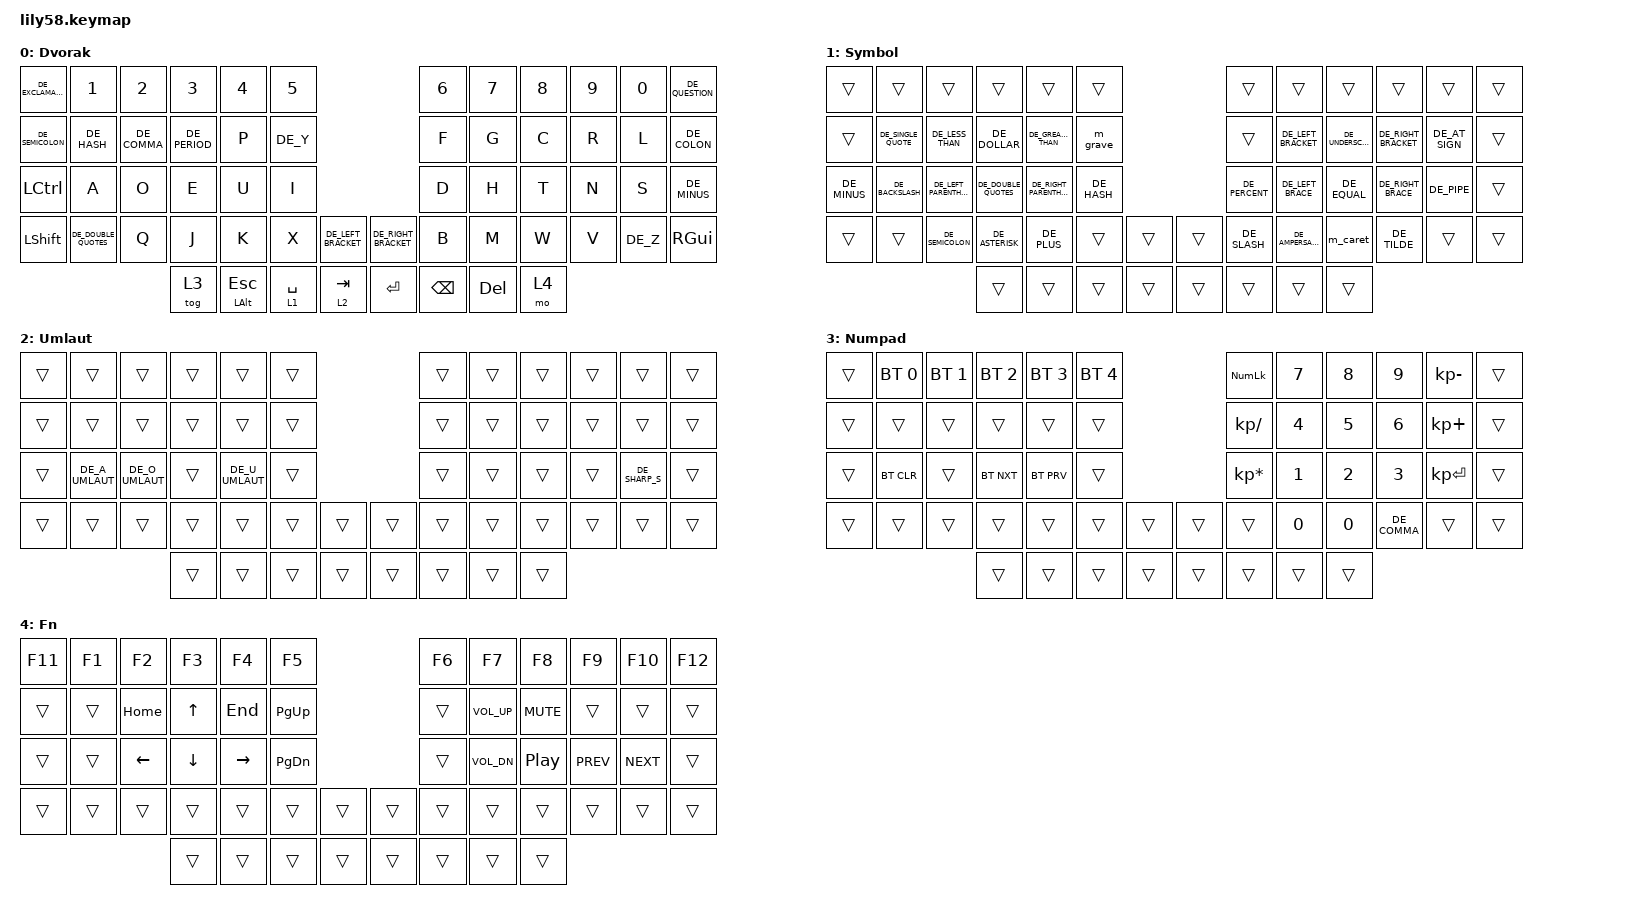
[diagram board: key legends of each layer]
/*
 * Lily58 keymap: modified Dvorak for a German (de) host keyboard layout.
 *
 * Layers
 *   0  Dvorak   default
 *   1  Symbol   hold Space
 *   2  Umlaut   hold Tab
 *   3  Numpad   toggle with the left outer thumb key (press again to leave)
 *   4  Fn       hold the right outer thumb key
 *
 * The DE_* key codes come from the zmk-locales module (see config/west.yml).
 * They encode what the host prints when it is set to the German layout, e.g.
 * DE_LEFT_BRACKET = AltGr+8 and DE_Y = the HID "Z" key.
 */

#include <behaviors.dtsi>
#include <dt-bindings/zmk/keys.h>
#include <dt-bindings/zmk/bt.h>
#include <locale/keys_de.h>

/ {
    behaviors {
        // Space: tap = Space, hold = Symbol layer.
        lt_spc: layer_tap_space {
            compatible = "zmk,behavior-hold-tap";
            #binding-cells = <2>;
            flavor = "balanced";
            tapping-term-ms = <200>;
            quick-tap-ms = <175>;          // tap, then hold within 175 ms = auto-repeat Space
            require-prior-idle-ms = <100>; // Space < 100 ms after a letter is always a tap (prose safety)
            bindings = <&mo>, <&kp>;
        };

        // Tab: tap = Tab, hold = Umlaut layer. No prior-idle so umlauts can be rolled at speed.
        lt_tab: layer_tap_tab {
            compatible = "zmk,behavior-hold-tap";
            #binding-cells = <2>;
            flavor = "balanced";
            tapping-term-ms = <200>;
            quick-tap-ms = <175>;
            bindings = <&mo>, <&kp>;
        };

        // Left thumb #2: tap = ESC, hold = ALT. "balanced" keeps a rolled ESC+':' as ESC
        // while Alt held + Tab tapped resolves to Alt+Tab.
        mt_esc: mod_tap_esc {
            compatible = "zmk,behavior-hold-tap";
            #binding-cells = <2>;
            flavor = "balanced";
            tapping-term-ms = <200>;
            quick-tap-ms = <175>;
            bindings = <&kp>, <&kp>;
        };
    };

    macros {
        // On the German layout ` and ^ are dead keys; dead key + Space emits the bare character.
        m_grave: m_grave {
            compatible = "zmk,behavior-macro";
            #binding-cells = <0>;
            bindings = <&kp DE_GRAVE &kp SPACE>;
        };

        m_caret: m_caret {
            compatible = "zmk,behavior-macro";
            #binding-cells = <0>;
            bindings = <&kp DE_CARET &kp SPACE>;
        };
    };

    keymap {
        compatible = "zmk,keymap";

        default_layer {
            display-name = "Dvorak";
// ------------------------------------------------------------------------------------------------------------
// |  !    |  1  |  2  |  3   |  4   |  5   |                   |  6   |  7    |  8    |  9   |   0   |   ?   |
// |  ;    |  #  |  ,  |  .   |  P   |  Y   |                   |  F   |  G    |  C    |  R   |   L   |   :   |
// | CTRL  |  A  |  O  |  E   |  U   |  I   |                   |  D   |  H    |  T    |  N   |   S   |   -   |
// | SHIFT |  "  |  Q  |  J   |  K   |  X   |   "["  |  |  "]"  |  B   |  M    |  W    |  V   |   Z   |  GUI  |
//                     |NUMPAD|ESC/ALT|SPC/SYM|TAB/UML|  | ENTER | BSPC | DEL   |  FN   |
            bindings = <
&kp DE_EXCLAMATION &kp N1               &kp N2       &kp N3        &kp N4           &kp N5                                                    &kp N6   &kp N7   &kp N8  &kp N9  &kp N0   &kp DE_QUESTION
&kp DE_SEMICOLON   &kp DE_HASH          &kp DE_COMMA &kp DE_PERIOD &kp P            &kp DE_Y                                                  &kp F    &kp G    &kp C   &kp R   &kp L    &kp DE_COLON
&kp LCTRL          &kp A                &kp O        &kp E         &kp U            &kp I                                                     &kp D    &kp H    &kp T   &kp N   &kp S    &kp DE_MINUS
&kp LSHFT          &kp DE_DOUBLE_QUOTES &kp Q        &kp J         &kp K            &kp X           &kp DE_LEFT_BRACKET  &kp DE_RIGHT_BRACKET &kp B    &kp M    &kp W   &kp V   &kp DE_Z &kp RGUI
                                                     &tog 3        &mt_esc LALT ESC &lt_spc 1 SPACE &lt_tab 2 TAB        &kp RET              &kp BSPC &kp DEL  &mo 4
            >;
        };

        symbol_layer {
            display-name = "Symbol";
// Hold Space. Keys in (parentheses) fall through to the default layer.
// ------------------------------------------------------------------------------------------------------------
// |  (!)  | (1) | (2) | (3)  | (4)  | (5)  |                   | (6)  | (7)   | (8)   | (9)  |  (0)  |  (?)  |
// |  (;)  |  '  |  <  |  $   |  >   |  `   |                   | (F)  |  [    |  _    |  ]   |   @   |  (:)  |
// |   -   |  \  |  (  |  "   |  )   |  #   |                   |  %   |  {    |  =    |  }   |   |   |  (-)  |
// |(SHIFT)| (") |  ;  |  *   |  +   | (X)  |  ("[") |  | ("]") |  /   |  &    |  ^    |  ~   |  (Z)  | (GUI) |
//                     |      |      |      |        |  |       |      |       |       |
            bindings = <
&trans       &trans              &trans                  &trans               &trans                   &trans                                  &trans         &trans              &trans            &trans               &trans         &trans
&trans       &kp DE_SINGLE_QUOTE &kp DE_LESS_THAN        &kp DE_DOLLAR        &kp DE_GREATER_THAN      &m_grave                                &trans         &kp DE_LEFT_BRACKET &kp DE_UNDERSCORE &kp DE_RIGHT_BRACKET &kp DE_AT_SIGN &trans
&kp DE_MINUS &kp DE_BACKSLASH    &kp DE_LEFT_PARENTHESIS &kp DE_DOUBLE_QUOTES &kp DE_RIGHT_PARENTHESIS &kp DE_HASH                             &kp DE_PERCENT &kp DE_LEFT_BRACE   &kp DE_EQUAL      &kp DE_RIGHT_BRACE   &kp DE_PIPE    &trans
&trans       &trans              &kp DE_SEMICOLON        &kp DE_ASTERISK      &kp DE_PLUS              &trans      &trans           &trans     &kp DE_SLASH   &kp DE_AMPERSAND    &m_caret          &kp DE_TILDE         &trans         &trans
                                                         &trans               &trans                   &trans      &trans           &trans     &trans         &trans              &trans
            >;
        };

        umlaut_layer {
            display-name = "Umlaut";
// Hold Tab. Shift (pass-through) gives the capitals.
// ------------------------------------------------------------------------------------------------------------
// |       |     |     |      |      |      |                   |      |       |       |      |       |       |
// |       |     |     |      |      |      |                   |      |       |       |      |       |       |
// |       |  Ä  |  Ö  |      |  Ü   |      |                   |      |       |       |      |   ß   |       |
// |(SHIFT)|     |     |      |      |      |        |  |       |      |       |       |      |       |       |
//                     |      |      |      |        |  |       |      |       |       |
            bindings = <
&trans &trans          &trans          &trans &trans          &trans                      &trans &trans &trans &trans &trans         &trans
&trans &trans          &trans          &trans &trans          &trans                      &trans &trans &trans &trans &trans         &trans
&trans &kp DE_A_UMLAUT &kp DE_O_UMLAUT &trans &kp DE_U_UMLAUT &trans                      &trans &trans &trans &trans &kp DE_SHARP_S &trans
&trans &trans          &trans          &trans &trans          &trans    &trans    &trans  &trans &trans &trans &trans &trans         &trans
                                       &trans &trans          &trans    &trans    &trans  &trans &trans &trans
            >;
        };

        numpad_layer {
            display-name = "Numpad";
// Toggled by the left outer thumb key; press it again (EXIT) to leave.
// ------------------------------------------------------------------------------------------------------------
// |       | BT1 | BT2 | BT3  | BT4  | BT5  |                   | NUM  |  7    |  8    |  9   |   -   |       |
// |       |     |     |      |      |      |                   |  /   |  4    |  5    |  6   |   +   |       |
// |       |BTCLR|     |BTNXT |BTPRV |      |                   |  *   |  1    |  2    |  3   | ENTER |       |
// |(SHIFT)|     |     |      |      |      |        |  |       |      |  0    |  0    |  ,   |       |       |
//                     | EXIT |      |      |        |  |       |      |       |       |
            bindings = <
&trans &bt BT_SEL 0 &bt BT_SEL 1 &bt BT_SEL 2 &bt BT_SEL 3 &bt BT_SEL 4                      &kp KP_NUM      &kp N7 &kp N8 &kp N9       &kp KP_MINUS &trans
&trans &trans       &trans       &trans       &trans       &trans                            &kp KP_SLASH    &kp N4 &kp N5 &kp N6       &kp KP_PLUS  &trans
&trans &bt BT_CLR   &trans       &bt BT_NXT   &bt BT_PRV   &trans                            &kp KP_ASTERISK &kp N1 &kp N2 &kp N3       &kp KP_ENTER &trans
&trans &trans       &trans       &trans       &trans       &trans       &trans     &trans    &trans          &kp N0 &kp N0 &kp DE_COMMA &trans       &trans
                                              &trans       &trans       &trans     &trans    &trans          &trans &trans &trans
            >;
        };

        function_layer {
            display-name = "Fn";
// Hold the right outer thumb key.
// ------------------------------------------------------------------------------------------------------------
// |  F11  | F1  | F2  | F3   | F4   | F5   |                   | F6   | F7    | F8    | F9   |  F10  |  F12  |
// |       |     | HOME| UP   | END  | PGUP |                   |      | VOL+  | MUTE  |      |       |       |
// |       |     | LEFT| DOWN | RIGHT| PGDN |                   |      | VOL-  | PLAY  | PREV | NEXT  |       |
// |(SHIFT)|     |     |      |      |      |        |  |       |      |       |       |      |       |       |
//                     |      |      |      |        |  |       |      |       |       |
            bindings = <
&kp F11 &kp F1 &kp F2   &kp F3   &kp F4    &kp F5                              &kp F6 &kp F7       &kp F8     &kp F9     &kp F10    &kp F12
&trans  &trans &kp HOME &kp UP   &kp END   &kp PG_UP                           &trans &kp C_VOL_UP &kp C_MUTE &trans     &trans     &trans
&trans  &trans &kp LEFT &kp DOWN &kp RIGHT &kp PG_DN                           &trans &kp C_VOL_DN &kp C_PP   &kp C_PREV &kp C_NEXT &trans
&trans  &trans &trans   &trans   &trans    &trans    &trans        &trans      &trans &trans       &trans     &trans     &trans     &trans
                                 &trans    &trans    &trans        &trans      &trans &trans       &trans     &trans
            >;
        };
    };
};
